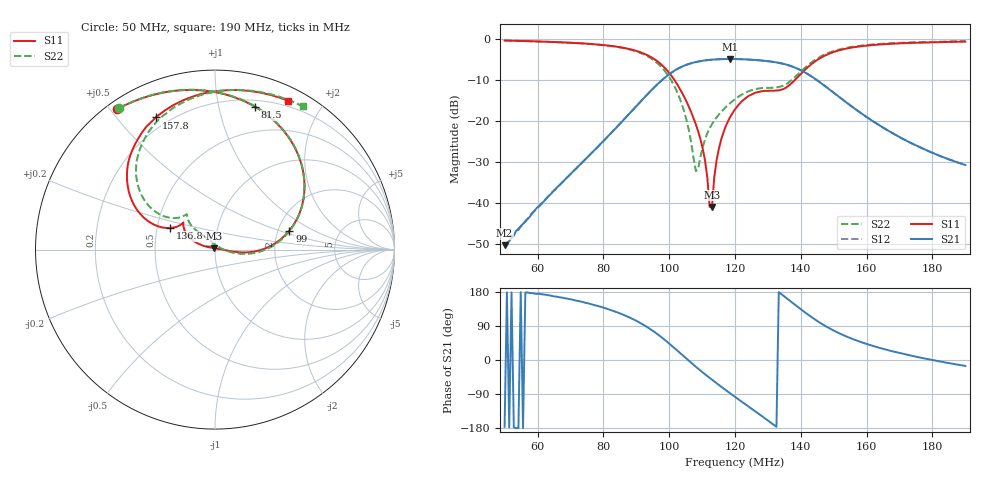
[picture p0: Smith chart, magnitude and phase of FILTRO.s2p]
!Keysight Technologies N9914A: A.10.33
!Date: Tuesday, 01 October 2019 19:06:40
!Timezone: (UTC-08:00) Pacific Time (US & Canada)
!Model: N9914A
!Serial: MY53104152
!GPS Latitude:
!GPS Longitude:
!GPS TimeStamp: 0001-01-01 00:00:00Z
!GPS Seconds Since Last Read: 0
!CHECKSUM:1411844230
!Correction: S11(Rdy)S21(Rdy)S12(Rdy)S22(Rdy)
!S2P File: Measurements:S11,S21,S12,S22:
# Hz S DB R 50
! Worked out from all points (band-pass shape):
!   201 points, 50 MHz to 190 MHz, reference 50 ohm
!   highest |S21| = -4.91 dB at 118.6 MHz (marker M1); lowest = -50.3 dB at 50 MHz (marker M2)
!   |S21| within 3 dB of the highest: 101.3 MHz to 140.6 MHz (39.3 MHz wide, 32.5 % of centre)
!   lowest |S11| = -41.0 dB at 113 MHz (marker M3), VSWR 1.02, Z = 49.5 + j0.733 ohm
!   |S11| at or under -10 dB: 101.6 MHz to 138.3 MHz (36.7 MHz wide, 30.6 % of centre)
!   |S22| runs from -32.2 to -0.4 dB; largest |S21 - S12| = 0.0018
!   S11 on the Smith chart (normalised r, x): 50 MHz: 0.03, +0.52; 81.5 MHz: 0.26, +1.29; 99 MHz: 2.31, +0.60; 136.8 MHz: 0.58, +0.15; 157.8 MHz: 0.15, +0.64; 190 MHz: 0.14, +1.60
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5e7  -0.41 124.9  -50.34 -176.4  -50.53 -175.9  -0.43 124.1
7.38e7  -1.13 90.2  -29.95 152.9  -29.94 152.9  -1.14 89.1
8.15e7  -1.65 74.3  -23.68 134.1  -23.69 134.1  -1.68 73.1
9.13e7  -3.29 45.9  -15.30 97.4  -15.30 97.4  -3.46 43.7
9.69e7  -5.79 23.4  -10.73 65.3  -10.73 65.2  -6.30 19.9
9.9e7  -7.38 14.4  -9.26 50.7  -9.27 50.7  -8.19 10.0
1.046e8  -14.21 -4.2  -6.53 8.4  -6.54 8.4  -17.84 -9.7
1.081e8  -20.82 -5.5  -5.66 -17.8  -5.67 -17.7  -32.22 42.5
1.109e8  -29.68 2.1  -5.26 -37.8  -5.28 -37.7  -24.47 120.4
1.123e8  -40.98 40.5  -5.13 -47.3  -5.15 -47.2  -21.79 126.4
1.13e8  -41.00 123.9  -5.08 -52.1  -5.10 -52.0  -20.81 128.1
1.137e8  -33.72 151.6  -5.04 -56.7  -5.06 -56.6  -19.92 129.5
1.151e8  -26.83 160.6  -4.98 -66.0  -4.99 -65.9  -18.46 131.9
1.186e8  -18.95 159.6  -4.91 -88.5  -4.93 -88.5  -15.62 134.6
1.2e8  -17.19 156.9  -4.93 -97.4  -4.94 -97.3  -14.71 134.5
1.291e8  -12.69 139.6  -5.37 -153.8  -5.38 -153.7  -11.95 128.4
1.368e8  -11.11 154.4  -6.59 155.5  -6.60 155.6  -10.33 144.4
1.438e8  -5.81 151.4  -9.46 109.9  -9.47 109.9  -5.43 141.8
1.494e8  -3.37 135.7  -12.78 80.3  -12.77 80.3  -3.15 127.1
1.578e8  -1.87 114.1  -17.84 48.7  -17.84 48.8  -1.72 106.9
1.669e8  -1.24 96.2  -22.58 25.1  -22.56 25.1  -1.11 89.9
1.9e8  -0.69 63.7  -30.77 -15.7  -30.74 -15.7  -0.58 58.5
